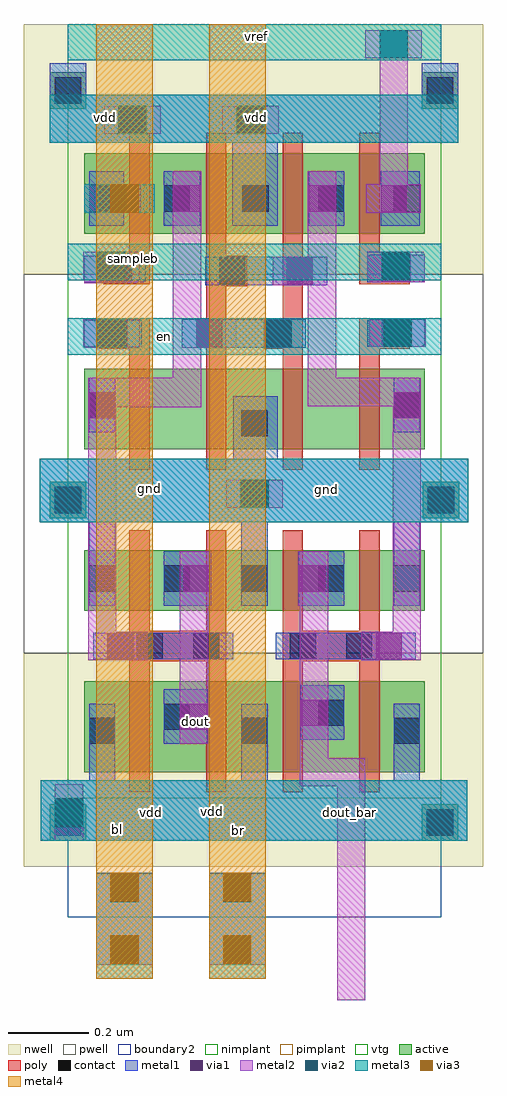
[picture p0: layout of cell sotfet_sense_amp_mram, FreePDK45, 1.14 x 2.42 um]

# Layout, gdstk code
from math import pi, radians
import gdstk
lib = gdstk.Library(unit=1e-6, precision=5e-10)
def R(c, l, rs):  # rectangles x0, y0, x1, y1
    for r in rs: c.add(gdstk.rectangle(r[:2], r[2:], *l))
def A(c, l, x, y, w, h, nx, ny, dx, dy):  # array of equal rectangles
    R(c, l, [(x+i*dx, y+j*dy, x+i*dx+w, y+j*dy+h) for i in range(nx) for j in range(ny)])
active = (1, 0)
pwell = (2, 0)
nwell = (3, 0)
nimplant = (4, 0)
pimplant = (5, 0)
vtg = (6, 0)
poly = (9, 0)
contact = (10, 0)
metal1 = (11, 0)
via1 = (12, 0)
metal2 = (13, 0)
via2 = (14, 0)
metal3 = (15, 0)
via3 = (16, 0)
metal4 = (17, 0)
boundary2 = (239, 0)

m1_poly_cdns_61915145476 = lib.new_cell('M1_POLY_CDNS_619151454760')
R(m1_poly_cdns_61915145476, poly, [(-0.0375,-0.1075,0.0375,0.1075)])
R(m1_poly_cdns_61915145476, contact, [(-0.0325,-0.1025,0.0325,-0.0375), (-0.0325,0.0375,0.0325,0.1025)])
R(m1_poly_cdns_61915145476, metal1, [(-0.0325,-0.1375,0.0325,0.1375)])

c_m1_poly_cdns_61915145476 = lib.new_cell('M1_POLY_CDNS_619151454761')
R(c_m1_poly_cdns_61915145476, poly, [(-0.0375,-0.0375,0.0375,0.0375)])
R(c_m1_poly_cdns_61915145476, contact, [(-0.0325,-0.0325,0.0325,0.0325)])
R(c_m1_poly_cdns_61915145476, metal1, [(-0.0325,-0.0675,0.0325,0.0675)])

m2_m1_cdns_619151454762 = lib.new_cell('M2_M1_CDNS_619151454762')
R(m2_m1_cdns_619151454762, metal1, [(-0.0325,-0.0675,0.0325,0.0675)])
R(m2_m1_cdns_619151454762, via1, [(-0.0325,-0.0325,0.0325,0.0325)])
R(m2_m1_cdns_619151454762, metal2, [(-0.035,-0.0675,0.035,0.0675)])

m3_m2_cdns_619151454763 = lib.new_cell('M3_M2_CDNS_619151454763')
R(m3_m2_cdns_619151454763, metal2, [(-0.035,-0.07,0.035,0.07)])
R(m3_m2_cdns_619151454763, via2, [(-0.035,-0.035,0.035,0.035)])
R(m3_m2_cdns_619151454763, metal3, [(-0.035,-0.07,0.035,0.07)])

m2_m1_cdns_619151454764 = lib.new_cell('M2_M1_CDNS_619151454764')
R(m2_m1_cdns_619151454764, metal1, [(-0.0325,-0.0675,0.0325,0.0675)])
R(m2_m1_cdns_619151454764, via1, [(-0.0325,-0.0325,0.0325,0.0325)])
R(m2_m1_cdns_619151454764, metal2, [(-0.0675,-0.035,0.0675,0.035)])

m3_m2_cdns_619151454765 = lib.new_cell('M3_M2_CDNS_619151454765')
R(m3_m2_cdns_619151454765, metal2, [(-0.035,-0.07,0.035,0.07)])
R(m3_m2_cdns_619151454765, via2, [(-0.035,-0.035,0.035,0.035)])
R(m3_m2_cdns_619151454765, metal3, [(-0.07,-0.035,0.07,0.035)])

m4_m3_cdns_619151454766 = lib.new_cell('M4_M3_CDNS_619151454766')
R(m4_m3_cdns_619151454766, metal3, [(-0.1125,-0.07,0.1125,0.07)])
R(m4_m3_cdns_619151454766, via3, [(-0.1125,-0.035,-0.0425,0.035), (0.0425,-0.035,0.1125,0.035)])
R(m4_m3_cdns_619151454766, metal4, [(-0.1125,-0.07,0.1125,0.07)])

m3_m2_cdns_619151454767 = lib.new_cell('M3_M2_CDNS_619151454767')
R(m3_m2_cdns_619151454767, metal2, [(-0.07,-0.1125,0.07,0.1125)])
R(m3_m2_cdns_619151454767, via2, [(-0.035,-0.1125,0.035,-0.0425), (-0.035,0.0425,0.035,0.1125)])
R(m3_m2_cdns_619151454767, metal3, [(-0.07,-0.1125,0.07,0.1125)])

sotfet_sense_amp_mram = lib.new_cell('sotfet_sense_amp_mram')
A(sotfet_sense_amp_mram, active, 0.04, 0.4175, 0.09, 0.09, 3, 1, 0.3775, 0)
A(sotfet_sense_amp_mram, active, 0.42, 1.7375, 0.09, 0.09, 3, 1, 0.1875, 0)
R(sotfet_sense_amp_mram, active, [(-0.045,0.19,0.045,0.28), (0.8775,0.19,0.9675,0.28), (0.04,0.36,0.885,0.585), (0.225,0.4525,0.315,0.5425), (0.6075,0.4625,0.6975,0.5525), (0.04,0.76,0.885,0.91), (0.04,0.795,0.13,0.885), (0.225,0.795,0.315,0.885), (0.4175,0.795,0.5075,0.885), (0.6075,0.795,0.6975,0.885), (0.795,0.795,0.885,0.885), (-0.045,0.99,0.045,1.08), (0.88,0.99,0.97,1.08), (0.04,1.16,0.885,1.36), (0.04,1.225,0.13,1.315), (0.795,1.225,0.885,1.315), (0.04,1.695,0.885,1.895), (0.04,1.7375,0.13,1.8275), (0.225,1.7375,0.315,1.8275), (-0.045,2.005,0.045,2.095), (0.8775,2.005,0.9675,2.095)])
R(sotfet_sense_amp_mram, pwell, [(-0.11,0.655,1.03,1.595)])
R(sotfet_sense_amp_mram, nwell, [(-0.11,0.125,1.03,0.655), (-0.11,1.595,1.03,2.215)])
R(sotfet_sense_amp_mram, nimplant, [(-0.045,0.19,0.045,0.28), (0.8775,0.19,0.9675,0.28), (0.04,0.76,0.885,0.91), (0.04,1.16,0.885,1.36), (-0.045,2.005,0.045,2.095), (0.8775,2.005,0.9675,2.095)])
R(sotfet_sense_amp_mram, pimplant, [(0.04,0.36,0.885,0.585), (-0.045,0.99,0.045,1.08), (0.88,0.99,0.97,1.08), (0.04,1.695,0.885,1.895)])
R(sotfet_sense_amp_mram, vtg, [(0,0.295,0.925,2.215)])
A(sotfet_sense_amp_mram, poly, 0.1525, 0.31, 0.05, 0.65, 4, 1, 0.19, 0)
R(sotfet_sense_amp_mram, poly, [(0.1525,1.11,0.2025,1.485), (0.3425,1.11,0.3925,1.945), (0.5325,1.11,0.5825,1.945), (0.7225,1.11,0.7725,1.485), (0.1525,1.57,0.2025,1.945), (0.7225,1.57,0.7725,1.945)])
A(sotfet_sense_amp_mram, contact, 0.0525, 0.43, 0.065, 0.065, 3, 1, 0.3775, 0)
A(sotfet_sense_amp_mram, contact, 0.4325, 1.75, 0.065, 0.065, 3, 1, 0.1875, 0)
R(sotfet_sense_amp_mram, contact, [(-0.0325,0.2025,0.0325,0.2675), (0.89,0.2025,0.955,0.2675), (0.2375,0.465,0.3025,0.53), (0.62,0.475,0.685,0.54), (0.0525,0.8075,0.1175,0.8725), (0.2375,0.8075,0.3025,0.8725), (0.43,0.8075,0.495,0.8725), (0.62,0.8075,0.685,0.8725), (0.8075,0.8075,0.8725,0.8725), (-0.0325,1.0025,0.0325,1.0675), (0.8925,1.0025,0.9575,1.0675), (0.43,1.1925,0.495,1.2575), (0.0525,1.2375,0.1175,1.3025), (0.8075,1.2375,0.8725,1.3025), (0.0525,1.75,0.1175,1.815), (0.2375,1.75,0.3025,1.815), (-0.0325,2.0175,0.0325,2.0825), (0.89,2.0175,0.955,2.0825)])
A(sotfet_sense_amp_mram, metal1, 0.0525, 0.2825, 0.065, 0.1575, 3, 1, 0.3775, 0)
A(sotfet_sense_amp_mram, metal1, 0.0525, 0.395, 0.065, 0.135, 3, 1, 0.3775, 0)
A(sotfet_sense_amp_mram, metal1, 0.4325, 1.715, 0.065, 0.135, 3, 1, 0.1875, 0)
R(sotfet_sense_amp_mram, metal1, [(-0.0675,0.19,0.99,0.34), (0.2375,0.43,0.3025,0.565), (0.62,0.44,0.685,0.575), (0.0525,0.7725,0.1175,0.9075), (0.2375,0.7725,0.3025,0.9075), (0.43,0.7725,0.495,0.9075), (0.62,0.7725,0.685,0.9075), (0.8075,0.7725,0.8725,0.9075), (0.8075,0.8425,0.8725,1.075), (0.0525,0.85,0.1175,1.0825), (0.43,0.855,0.495,1.085), (-0.07,0.98,0.9925,1.1375), (0.43,1.075,0.495,1.2575), (0.41,1.105,0.52,1.2925), (0.0525,1.2025,0.1175,1.3375), (0.8075,1.2025,0.8725,1.3375), (0.2825,1.4125,0.59,1.4825), (0.34,1.5675,0.6425,1.6375), (0.0525,1.715,0.1175,1.85), (0.2375,1.715,0.3025,1.85), (0.4075,1.715,0.52,1.9525), (-0.045,1.92,0.9675,2.04), (-0.045,2.04,0.045,2.1175), (0.8775,2.04,0.9675,2.1175)])
R(sotfet_sense_amp_mram, metal2, [(0.6675,-0.205,0.7375,0.395), (0.575,0.325,0.645,0.9075), (0.575,0.325,0.7375,0.395), (0.2775,0.43,0.3475,0.9075), (0.05,0.6375,0.12,1.335), (0.805,0.6375,0.875,1.335), (0.05,1.265,0.33,1.3375), (0.595,1.2675,0.875,1.3375), (0.26,1.3225,0.33,1.85), (0.595,1.3225,0.665,1.74), (0.7725,1.7475,0.8425,2.185)])
R(sotfet_sense_amp_mram, metal3, [(0.07,-0.1525,0.21,0.1075), (0.35,-0.1525,0.49,0.1075), (-0.0675,0.19,0.99,0.34), (-0.07,0.98,0.9925,1.1375), (0,1.395,0.925,1.485), (0,1.58,0.925,1.67), (0.045,1.7475,0.215,1.8175), (-0.045,1.92,0.9675,2.04), (0,2.125,0.925,2.215)])
R(sotfet_sense_amp_mram, via3, [(0.105,1.7475,0.175,1.8175)])
R(sotfet_sense_amp_mram, metal4, [(0.07,-0.1525,0.21,2.215), (0.35,-0.1525,0.49,2.215)])
R(sotfet_sense_amp_mram, boundary2, [(0,0,0.925,2.215)])
sotfet_sense_amp_mram.add(gdstk.Reference(m1_poly_cdns_61915145476, (0.6525,0.6725), rotation=pi/2))
sotfet_sense_amp_mram.add(gdstk.Reference(m1_poly_cdns_61915145476, (0.2725,0.6725), rotation=pi/2))
sotfet_sense_amp_mram.add(gdstk.Reference(c_m1_poly_cdns_61915145476, (0.81,1.6075), rotation=pi/2))
sotfet_sense_amp_mram.add(gdstk.Reference(c_m1_poly_cdns_61915145476, (0.115,1.4475), rotation=pi/2))
sotfet_sense_amp_mram.add(gdstk.Reference(c_m1_poly_cdns_61915145476, (0.5225,1.4475), rotation=pi/2))
sotfet_sense_amp_mram.add(gdstk.Reference(c_m1_poly_cdns_61915145476, (0.4075,1.6025), rotation=pi/2))
sotfet_sense_amp_mram.add(gdstk.Reference(c_m1_poly_cdns_61915145476, (0.81,1.4475), rotation=pi/2))
sotfet_sense_amp_mram.add(gdstk.Reference(c_m1_poly_cdns_61915145476, (0.125,1.6075), rotation=pi/2))
sotfet_sense_amp_mram.add(gdstk.Reference(m2_m1_cdns_619151454762, (0.16,1.9775), rotation=pi/2))
sotfet_sense_amp_mram.add(gdstk.Reference(m2_m1_cdns_619151454762, (0.4625,1.05), rotation=pi/2))
sotfet_sense_amp_mram.add(gdstk.Reference(m2_m1_cdns_619151454762, (0.4525,1.9775), rotation=pi/2))
sotfet_sense_amp_mram.add(gdstk.Reference(m2_m1_cdns_619151454762, (0.0025,0.2625)))
sotfet_sense_amp_mram.add(gdstk.Reference(m2_m1_cdns_619151454762, (0.63,1.7825)))
sotfet_sense_amp_mram.add(gdstk.Reference(m2_m1_cdns_619151454762, (0.295,1.7825)))
sotfet_sense_amp_mram.add(gdstk.Reference(m2_m1_cdns_619151454762, (0.1075,1.4475), rotation=pi/2))
sotfet_sense_amp_mram.add(gdstk.Reference(m2_m1_cdns_619151454762, (0.575,1.6025), rotation=pi/2))
sotfet_sense_amp_mram.add(gdstk.Reference(m2_m1_cdns_619151454762, (0.085,1.27)))
sotfet_sense_amp_mram.add(gdstk.Reference(m2_m1_cdns_619151454762, (0.8175,1.45), rotation=pi/2))
sotfet_sense_amp_mram.add(gdstk.Reference(m2_m1_cdns_619151454762, (0.84,1.27)))
sotfet_sense_amp_mram.add(gdstk.Reference(m2_m1_cdns_619151454762, (0.1075,1.6075), rotation=pi/2))
sotfet_sense_amp_mram.add(gdstk.Reference(m2_m1_cdns_619151454762, (0.795,0.6725), rotation=pi/2))
sotfet_sense_amp_mram.add(gdstk.Reference(m2_m1_cdns_619151454762, (0.13,0.6725), rotation=3*pi/2))
sotfet_sense_amp_mram.add(gdstk.Reference(m2_m1_cdns_619151454762, (0.605,0.84)))
sotfet_sense_amp_mram.add(gdstk.Reference(m2_m1_cdns_619151454762, (0.61,0.5075), rotation=pi))
sotfet_sense_amp_mram.add(gdstk.Reference(m2_m1_cdns_619151454762, (0.32,0.84)))
sotfet_sense_amp_mram.add(gdstk.Reference(m2_m1_cdns_619151454762, (0.3125,0.4975)))
sotfet_sense_amp_mram.add(gdstk.Reference(m2_m1_cdns_619151454762, (0.8175,1.61), rotation=pi/2))
sotfet_sense_amp_mram.add(gdstk.Reference(m2_m1_cdns_619151454762, (0.35,1.4475), rotation=pi/2))
sotfet_sense_amp_mram.add(gdstk.Reference(m3_m2_cdns_619151454763, (0.16,1.9775), rotation=pi/2))
sotfet_sense_amp_mram.add(gdstk.Reference(m3_m2_cdns_619151454763, (0.8075,2.165), rotation=pi/2))
sotfet_sense_amp_mram.add(gdstk.Reference(m3_m2_cdns_619151454763, (0.4625,1.05), rotation=pi/2))
sotfet_sense_amp_mram.add(gdstk.Reference(m3_m2_cdns_619151454763, (0.11,1.7825), rotation=pi/2))
sotfet_sense_amp_mram.add(gdstk.Reference(m3_m2_cdns_619151454763, (0.4525,1.9775), rotation=pi/2))
sotfet_sense_amp_mram.add(gdstk.Reference(m3_m2_cdns_619151454763, (0.1075,1.615), rotation=pi/2))
sotfet_sense_amp_mram.add(gdstk.Reference(m3_m2_cdns_619151454763, (0.8125,1.615), rotation=pi/2))
sotfet_sense_amp_mram.add(gdstk.Reference(m3_m2_cdns_619151454763, (0.8175,1.45), rotation=pi/2))
sotfet_sense_amp_mram.add(gdstk.Reference(m3_m2_cdns_619151454763, (0.1075,1.4475), rotation=pi/2))
sotfet_sense_amp_mram.add(gdstk.Reference(m2_m1_cdns_619151454764, (0.8075,1.7825)))
sotfet_sense_amp_mram.add(gdstk.Reference(m2_m1_cdns_619151454764, (0.1075,1.7825)))
sotfet_sense_amp_mram.add(gdstk.Reference(m3_m2_cdns_619151454765, (0.0025,0.26)))
sotfet_sense_amp_mram.add(gdstk.Reference(m4_m3_cdns_619151454766, (0.42,-0.0025), rotation=pi/2))
sotfet_sense_amp_mram.add(gdstk.Reference(m4_m3_cdns_619151454766, (0.14,-0.0025), rotation=pi/2))
sotfet_sense_amp_mram.add(gdstk.Reference(m3_m2_cdns_619151454767, (0.42,-0.005)))
sotfet_sense_amp_mram.add(gdstk.Reference(m3_m2_cdns_619151454767, (0.14,-0.005)))
sotfet_sense_amp_mram.add(gdstk.Label('vdd', (0.2075,0.26), layer=11, texttype=0))
sotfet_sense_amp_mram.add(gdstk.Label('gnd', (0.2025,1.0625), layer=11, texttype=0))
sotfet_sense_amp_mram.add(gdstk.Label('vdd', (0.0925,1.9825), layer=11, texttype=0))
sotfet_sense_amp_mram.add(gdstk.Label('dout_bar', (0.6975,0.26), layer=13, texttype=0))
sotfet_sense_amp_mram.add(gdstk.Label('dout', (0.315,0.485), layer=13, texttype=0))
sotfet_sense_amp_mram.add(gdstk.Label('vdd', (0.4675,1.9825), layer=15, texttype=0))
sotfet_sense_amp_mram.add(gdstk.Label('gnd', (0.64,1.06), layer=15, texttype=0))
sotfet_sense_amp_mram.add(gdstk.Label('en', (0.24,1.44), layer=15, texttype=0))
sotfet_sense_amp_mram.add(gdstk.Label('sampleb', (0.1625,1.6325), layer=15, texttype=0))
sotfet_sense_amp_mram.add(gdstk.Label('vref', (0.4675,2.185), layer=15, texttype=0))
sotfet_sense_amp_mram.add(gdstk.Label('vdd', (0.3575,0.2625), layer=15, texttype=0))
sotfet_sense_amp_mram.add(gdstk.Label('bl', (0.1225,0.2175), layer=17, texttype=0))
sotfet_sense_amp_mram.add(gdstk.Label('br', (0.4225,0.215), layer=17, texttype=0))

lib.write_gds('sotfet_sense_amp_mram.gds')
